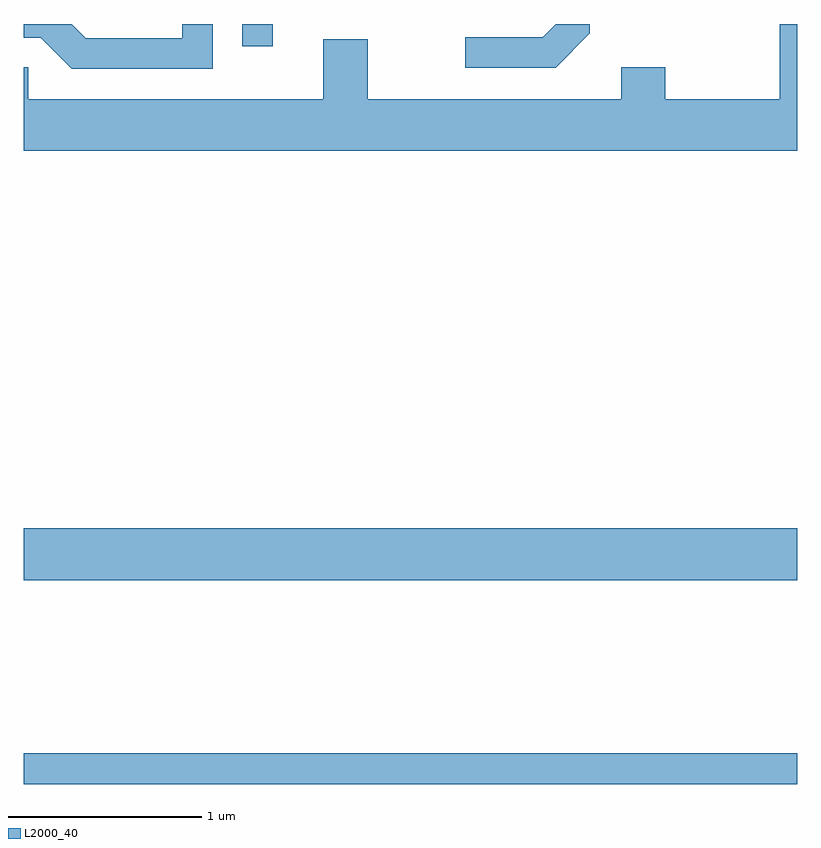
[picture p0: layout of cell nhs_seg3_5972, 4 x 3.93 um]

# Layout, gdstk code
import gdstk
lib = gdstk.Library(unit=1e-6, precision=1e-09)
def R(c, l, rs):  # rectangles x0, y0, x1, y1
    for r in rs: c.add(gdstk.rectangle(r[:2], r[2:], *l))
def P(c, l, *ps):  # polygons
    for p in ps: c.add(gdstk.Polygon(p, *l))
L2000_40 = (2000, 40)

nhs_seg3_5972 = lib.new_cell('nhs_seg3_5972')
R(nhs_seg3_5972, L2000_40, [(359.611,1235.961,363.611,1236.119), (359.611,1237.016,363.611,1237.284), (360.741,1239.778,360.899,1239.892)])
P(nhs_seg3_5972, L2000_40, [(363.611,1239.892),(363.521,1239.892),(363.521,1239.504),(362.929,1239.504),(362.929,1239.669),(362.701,1239.669),(362.701,1239.504),(361.389,1239.504),(361.389,1239.814),(361.161,1239.814),(361.161,1239.504),(359.634,1239.504),(359.634,1239.669),(359.611,1239.669),(359.611,1239.236),(363.611,1239.236)],
  [(362.539,1239.844),(362.539,1239.892),(362.361,1239.892),(362.294,1239.824),(361.893,1239.824),(361.893,1239.666),(362.362,1239.666)],
  [(360.589,1239.892),(360.431,1239.892),(360.431,1239.819),(359.932,1239.819),(359.859,1239.892),(359.611,1239.892),(359.611,1239.821),(359.699,1239.821),(359.859,1239.661),(360.589,1239.661)])

lib.write_gds('nhs_seg3_5972.gds')
